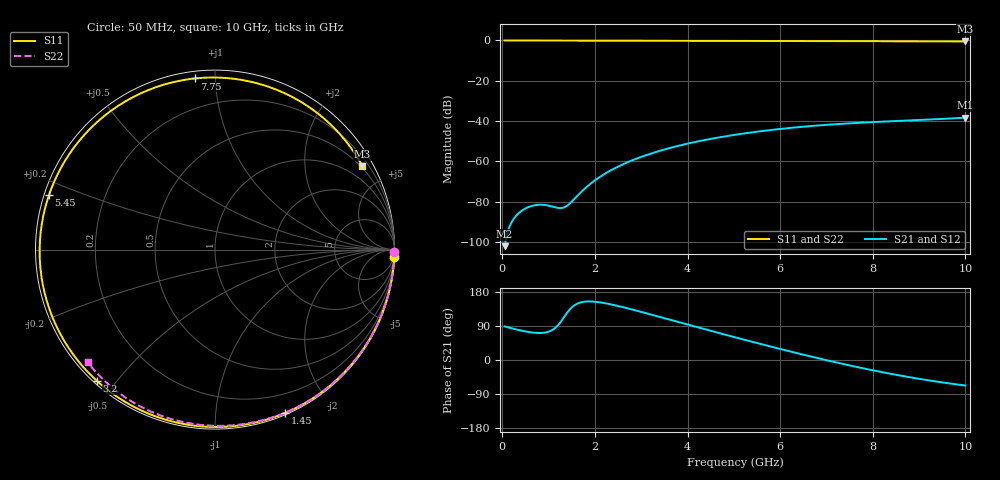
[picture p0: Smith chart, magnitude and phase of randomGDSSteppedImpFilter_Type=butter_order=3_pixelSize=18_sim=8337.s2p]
! freq	dB(S11)	phase(S11)	dB(S12)	phase(S12)
!  dB(S21)	phase(S21)	dB(S22)	phase(S22)
!S-par simulation data
#  GHz  S  DB  R 50
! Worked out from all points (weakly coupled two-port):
!   200 points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, 50 MHz to 10 GHz, reference 50 ohm
!   highest |S21| = -38.33 dB at 10 GHz (marker M1); lowest = -102.2 dB at 50 MHz (marker M2)
!   lowest |S11| = -0.5 dB at 10 GHz (marker M3), VSWR 34.34, Z = 22.2 + j187 ohm
!   |S11| at or under -10 dB: nowhere
!   |S22| runs from -0.5 to 0.0 dB; largest |S21 - S12| = 0
!   S11 on the Smith chart (normalised r, x): 50 MHz: 0, -47; 1.45 GHz: 0.02, -1.52; 3.2 GHz: 0.01, -0.45; 5.45 GHz: 0.01, +0.16; 7.75 GHz: 0.04, +0.89; 10 GHz: 0.44, +3.75
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0.05  -0.00 -2.4  -102.16 88.7  -102.16 88.7  -0.00 -0.8
0.35  -0.02 -16.8  -85.86 79.3  -85.86 79.3  -0.01 -5.6
0.65  -0.04 -31.0  -82.10 72.5  -82.10 72.5  -0.01 -10.4
1.05  -0.06 -49.4  -82.29 77.2  -82.29 77.2  -0.02 -16.7
1.45  -0.08 -66.8  -81.12 132.3  -81.12 132.3  -0.03 -23.0
1.5  -0.08 -69.0  -80.02 138.7  -80.02 138.7  -0.03 -23.7
1.75  -0.09 -79.3  -74.23 153.5  -74.23 153.5  -0.04 -27.6
2.05  -0.10 -91.2  -68.66 153.1  -68.66 153.1  -0.04 -32.3
2.35  -0.11 -102.5  -64.42 146.7  -64.42 146.7  -0.05 -36.8
2.75  -0.13 -116.8  -60.04 135.0  -60.04 135.0  -0.06 -42.9
3.2  -0.14 -131.9  -56.24 120.4  -56.24 120.4  -0.07 -49.6
3.4  -0.15 -138.3  -54.81 113.8  -54.81 113.8  -0.07 -52.6
4.2  -0.18 -162.6  -50.25 87.0  -50.25 87.0  -0.09 -64.1
5.05  -0.21 173.0  -46.76 59.1  -46.76 59.1  -0.12 -76.0
5.45  -0.23 161.8  -45.45 46.4  -45.45 46.4  -0.13 -81.4
6.05  -0.26 145.1  -43.82 27.7  -43.82 27.7  -0.16 -89.4
6.7  -0.30 126.9  -42.43 8.2  -42.43 8.2  -0.19 -97.9
7.25  -0.33 111.2  -41.51 -7.5  -41.51 -7.5  -0.22 -104.8
7.75  -0.35 96.7  -40.84 -20.9  -40.84 -20.9  -0.26 -111.1
8.35  -0.39 79.0  -40.17 -35.6  -40.17 -35.6  -0.30 -118.5
9.1  -0.43 56.5  -39.40 -51.6  -39.40 -51.6  -0.37 -127.6
10  -0.51 29.5  -38.33 -67.4  -38.33 -67.4  -0.47 -138.5
